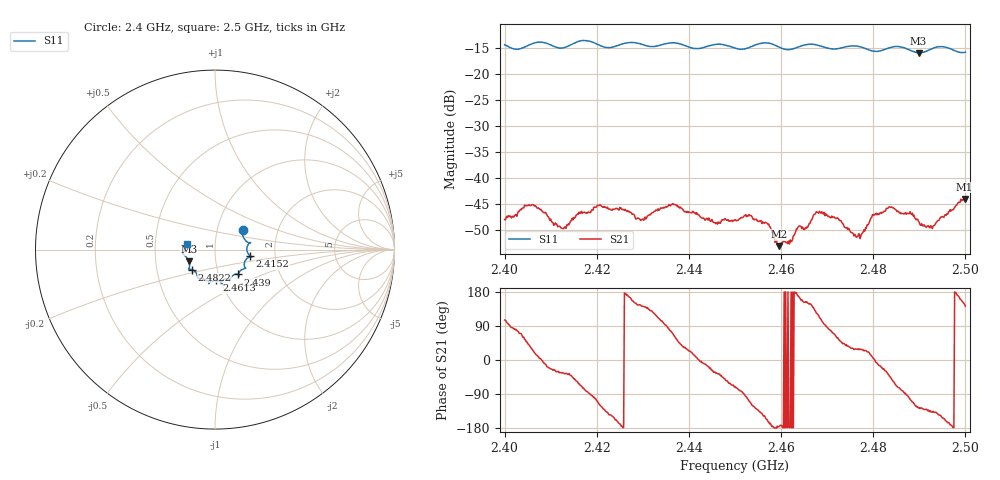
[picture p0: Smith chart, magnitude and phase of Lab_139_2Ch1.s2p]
# Hz S RI R 50
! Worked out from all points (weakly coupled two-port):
!   601 points, 2.4 GHz to 2.5 GHz, reference 50 ohm
!   highest |S21| = -44.11 dB at 2.4998 GHz (marker M1); lowest = -53.2 dB at 2.4595 GHz (marker M2)
!   lowest |S11| = -15.9 dB at 2.4898 GHz (marker M3), VSWR 1.38, Z = 37 - j5.02 ohm
!   |S11| at or under -10 dB: start of sweep to end of sweep
!   S12 and S22 are empty: the file has one direction only
!   S11 on the Smith chart (normalised r, x): 2.4 GHz: 1.33, +0.31; 2.4152 GHz: 1.48, -0.11; 2.439 GHz: 1.24, -0.36; 2.4613 GHz: 0.96, -0.34; 2.4822 GHz: 0.76, -0.17; 2.5 GHz: 0.73, +0.05
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2.4e9  0.1554 0.1116  -0.00105 0.00381  0 0  0 0
2.405667e9  0.1892 0.0377  0.00452 0.00295  0 0  0 0
2.412333e9  0.1774 0.000979  0.00271 -0.00183  0 0  0 0
2.415167e9  0.1952 -0.0362  0.00266 -0.00309  0 0  0 0
2.416667e9  0.205 -0.0423  0.0017 -0.00443  0 0  0 0
2.420667e9  0.1824 -0.0462  -0.00267 -0.00478  0 0  0 0
2.429833e9  0.1601 -0.1074  -0.0031 0.00243  0 0  0 0
2.433333e9  0.1323 -0.1322  -0.00179 0.00468  0 0  0 0
2.439e9  0.1278 -0.1386  0.00397 0.00251  0 0  0 0
2.45e9  0.0691 -0.1634  0.00135 -0.00371  0 0  0 0
2.456833e9  0.04 -0.1949  -0.00339 -0.00145  0 0  0 0
2.4595e9  0.03 -0.1795  -0.00218 -0.000163  0 0  0 0
2.461333e9  0.00739 -0.1713  -0.0024 -7.28e-05  0 0  0 0
2.466667e9  -0.034 -0.1904  -0.00317 0.0023  0 0  0 0
2.468833e9  -0.0358 -0.1808  -0.00108 0.00457  0 0  0 0
2.476833e9  -0.0954 -0.1575  0.00256 0.00132  0 0  0 0
2.482167e9  -0.1283 -0.1115  0.00422 -0.00193  0 0  0 0
2.483333e9  -0.1396 -0.1099  0.00403 -0.00324  0 0  0 0
2.489833e9  -0.1453 -0.0661  -0.00228 -0.00304  0 0  0 0
2.492833e9  -0.1734 -0.029  -0.00239 -0.00217  0 0  0 0
2.499833e9  -0.1582 0.0308  -0.00519 0.00345  0 0  0 0
2.5e9  -0.1582 0.0339  -0.0049 0.00384  0 0  0 0
